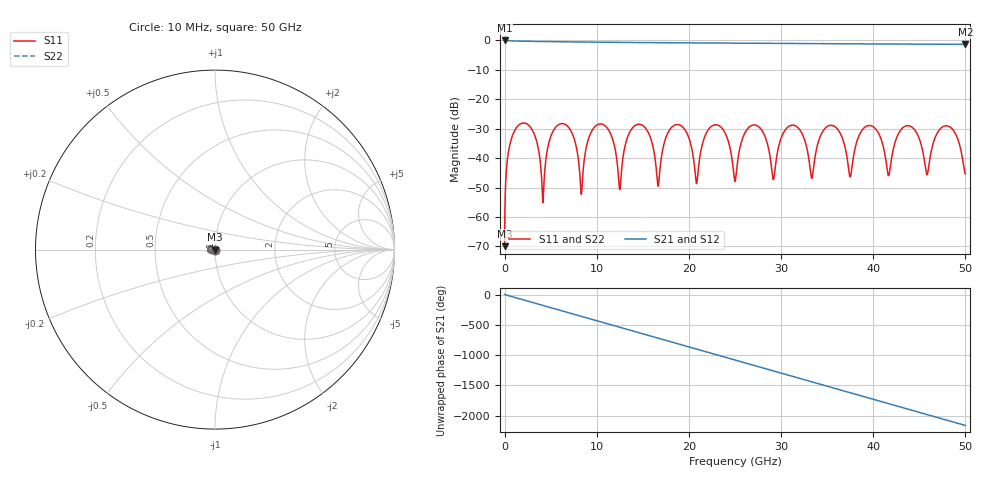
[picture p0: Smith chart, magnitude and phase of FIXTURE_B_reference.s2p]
! Reference exacte, ligne B : Zc=48.0 ohm, 120 ps, 0.6 dB@10GHz
! Frequency(Hz) S11 S21 S12 S22 (Re Im)
# Hz S RI R 50
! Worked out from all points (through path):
!   5000 points, 10 MHz to 50 GHz, reference 50 ohm
!   highest |S21| = -0.02 dB at 10 MHz (marker M1); lowest = -1.3 dB at 50 GHz (marker M2)
!   group delay of S21, straight-line fit = 120 ps
!   lowest |S11| = -69.9 dB at 10 MHz (marker M3), VSWR 1.00, Z = 50 - j0.0306 ohm
!   |S11| at or under -10 dB: start of sweep to end of sweep
!   |S22| runs from -69.9 to -28.1 dB; largest |S21 - S12| = 0
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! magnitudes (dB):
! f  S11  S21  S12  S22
! 10 MHz  -69.9  0.0  0.0  -69.9
! 510 MHz  -36.4  -0.1  -0.1  -36.4
! 1.78 GHz  -28.3  -0.3  -0.3  -28.3
! 4.17 GHz  -55.2  -0.4  -0.4  -55.2
! 6.79 GHz  -29.0  -0.5  -0.5  -29.0
! 8.35 GHz  -52.2  -0.5  -0.5  -52.2
! 10.38 GHz  -28.4  -0.6  -0.6  -28.4
! 12.5 GHz  -50.7  -0.7  -0.7  -50.7
! 15.11 GHz  -29.2  -0.7  -0.7  -29.2
! 16.68 GHz  -49.5  -0.8  -0.8  -49.5
! 18.73 GHz  -28.6  -0.8  -0.8  -28.6
! 20.83 GHz  -48.7  -0.9  -0.9  -48.7
! 23.43 GHz  -29.3  -0.9  -0.9  -29.3
! 25.01 GHz  -47.9  -0.9  -0.9  -47.9
! 27.06 GHz  -28.7  -1.0  -1.0  -28.7
! 29.16 GHz  -47.3  -1.0  -1.0  -47.3
! 31.74 GHz  -29.4  -1.1  -1.1  -29.4
! 33.34 GHz  -46.8  -1.1  -1.1  -46.8
! 35.4 GHz  -28.8  -1.1  -1.1  -28.8
! 41.67 GHz  -46.0  -1.2  -1.2  -46.0
! 47.92 GHz  -29.0  -1.3  -1.3  -29.0
! 50 GHz  -45.3  -1.3  -1.3  -45.3
